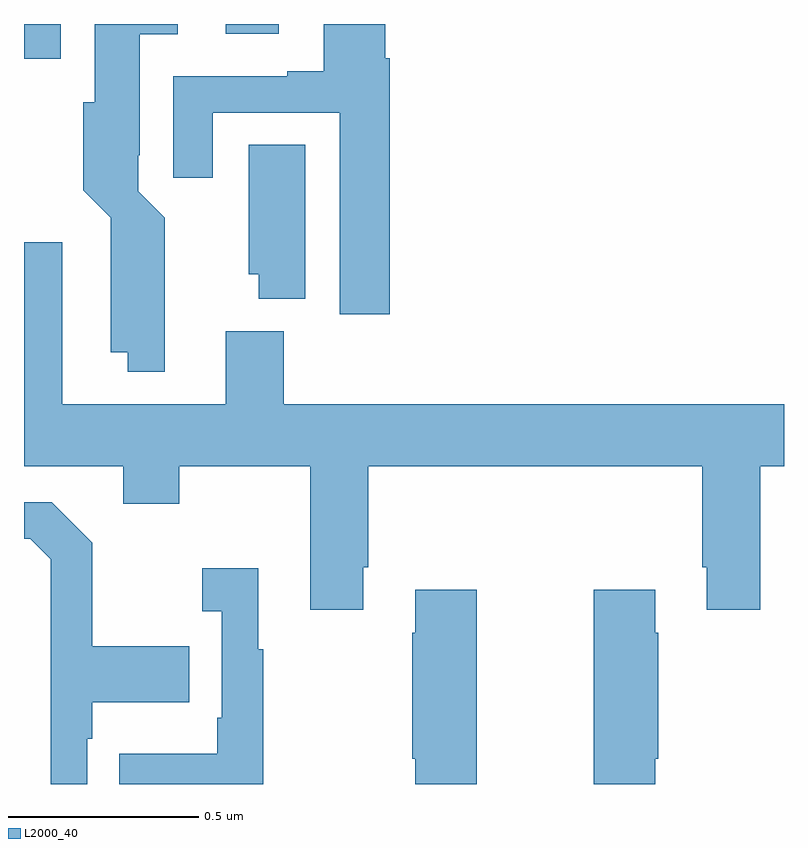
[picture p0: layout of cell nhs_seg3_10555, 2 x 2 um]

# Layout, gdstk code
import gdstk
lib = gdstk.Library(unit=1e-6, precision=1e-09)
def R(c, l, rs):  # rectangles x0, y0, x1, y1
    for r in rs: c.add(gdstk.rectangle(r[:2], r[2:], *l))
def P(c, l, *ps):  # polygons
    for p in ps: c.add(gdstk.Polygon(p, *l))
L2000_40 = (2000, 40)

nhs_seg3_10555 = lib.new_cell('nhs_seg3_10555')
R(nhs_seg3_10555, L2000_40, [(242,715.308,242.097,715.4), (242.531,715.374,242.671,715.4)])
P(nhs_seg3_10555, L2000_40, [(242.963,715.31),(242.95,715.31),(242.95,715.4),(242.789,715.4),(242.789,715.276),(242.693,715.276),(242.693,715.263),(242.393,715.263),(242.393,714.996),(242.497,714.996),(242.497,715.167),(242.831,715.167),(242.831,714.636),(242.963,714.636)],
  [(242.37,714.788),(242.371,714.788),(242.371,714.89),(242.301,714.96),(242.301,715.054),(242.305,715.054),(242.305,715.373),(242.404,715.373),(242.404,715.4),(242.186,715.4),(242.186,715.194),(242.156,715.194),(242.156,714.962),(242.228,714.89),(242.228,714.536),(242.273,714.536),(242.273,714.485),(242.37,714.485)],
  [(242.74,715.082),(242.591,715.082),(242.591,714.741),(242.618,714.741),(242.618,714.677),(242.74,714.677)],
  [(242.684,714.592),(242.531,714.592),(242.531,714.4),(242.101,714.4),(242.101,714.826),(242,714.826),(242,714.236),(242.261,714.236),(242.261,714.137),(242.409,714.137),(242.409,714.236),(242.753,714.236),(242.753,713.859),(242.893,713.859),(242.893,713.971),(242.906,713.971),(242.906,714.236),(243.785,714.236),(243.785,713.971),(243.797,713.971),(243.797,713.859),(243.937,713.859),(243.937,714.236),(244,714.236),(244,714.4),(242.684,714.4)],
  [(242.166,713.519),(242.179,713.519),(242.179,713.615),(242.435,713.615),(242.435,713.763),(242.179,713.763),(242.179,714.035),(242.073,714.141),(242,714.141),(242,714.045),(242.016,714.045),(242.07,713.991),(242.07,713.4),(242.166,713.4)],
  [(242.629,713.755),(242.617,713.755),(242.617,713.968),(242.469,713.968),(242.469,713.855),(242.52,713.855),(242.52,713.575),(242.508,713.575),(242.508,713.479),(242.251,713.479),(242.251,713.4),(242.629,713.4)],
  [(243.192,713.911),(243.029,713.911),(243.029,713.798),(243.022,713.798),(243.022,713.467),(243.029,713.467),(243.029,713.4),(243.192,713.4)],
  [(243.661,713.467),(243.669,713.467),(243.669,713.798),(243.661,713.798),(243.661,713.911),(243.499,713.911),(243.499,713.4),(243.661,713.4)])

lib.write_gds('nhs_seg3_10555.gds')
